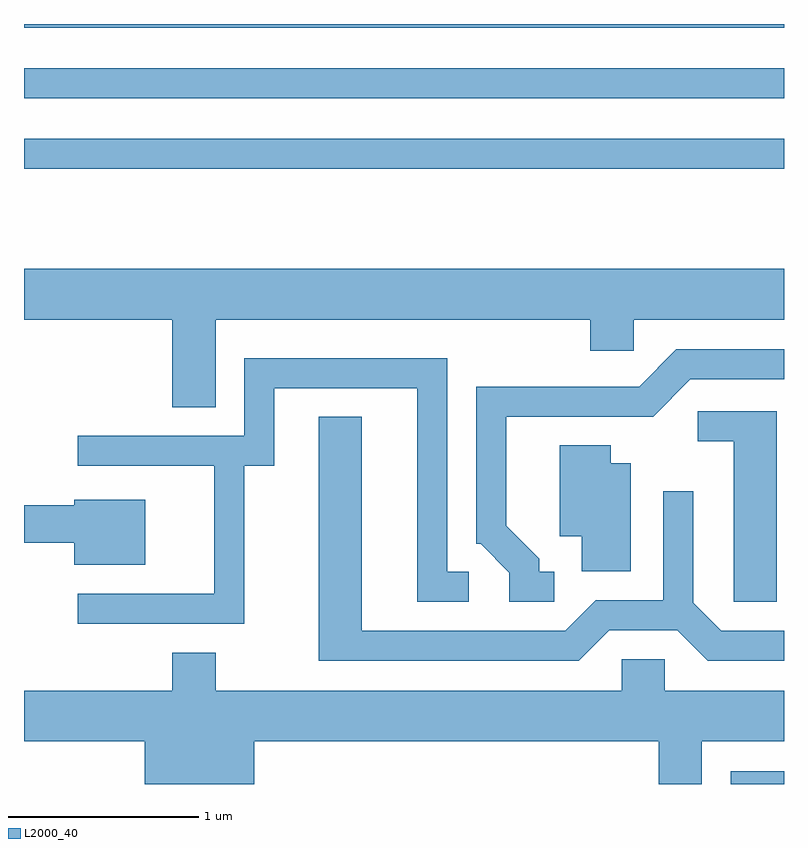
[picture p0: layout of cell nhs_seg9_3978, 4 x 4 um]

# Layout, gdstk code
import gdstk
lib = gdstk.Library(unit=1e-6, precision=1e-09)
def R(c, l, rs):  # rectangles x0, y0, x1, y1
    for r in rs: c.add(gdstk.rectangle(r[:2], r[2:], *l))
def P(c, l, *ps):  # polygons
    for p in ps: c.add(gdstk.Polygon(p, *l))
L2000_40 = (2000, 40)

nhs_seg9_3978 = lib.new_cell('nhs_seg9_3978')
R(nhs_seg9_3978, L2000_40, [(305.331,2040.432,305.611,2040.499), (301.611,2043.671,305.611,2043.829), (301.611,2044.041,305.611,2044.199), (301.611,2044.411,305.611,2044.432)])
P(nhs_seg9_3978, L2000_40, [(302.619,2042.876),(304.591,2042.876),(304.591,2042.711),(304.819,2042.711),(304.819,2042.876),(305.611,2042.876),(305.611,2043.144),(301.611,2043.144),(301.611,2042.876),(302.391,2042.876),(302.391,2042.416),(302.619,2042.416)],
  [(304.403,2041.549),(304.324,2041.549),(304.324,2041.617),(304.149,2041.792),(304.149,2042.366),(304.922,2042.366),(305.117,2042.561),(305.611,2042.561),(305.611,2042.719),(305.044,2042.719),(304.849,2042.524),(303.991,2042.524),(303.991,2041.696),(304.014,2041.696),(304.166,2041.544),(304.166,2041.391),(304.403,2041.391)],
  [(302.769,2042.106),(302.929,2042.106),(302.929,2042.516),(303.681,2042.516),(303.681,2041.391),(303.953,2041.391),(303.953,2041.549),(303.839,2041.549),(303.839,2042.674),(302.771,2042.674),(302.771,2042.264),(301.893,2042.264),(301.893,2042.106),(302.611,2042.106),(302.611,2041.434),(301.893,2041.434),(301.893,2041.276),(302.769,2041.276)],
  [(305.574,2042.394),(305.158,2042.394),(305.158,2042.236),(305.346,2042.236),(305.346,2041.391),(305.574,2041.391)],
  [(304.692,2041.241),(305.049,2041.241),(305.209,2041.081),(305.611,2041.081),(305.611,2041.239),(305.282,2041.239),(305.134,2041.387),(305.134,2041.973),(304.976,2041.973),(304.976,2041.399),(304.619,2041.399),(304.459,2041.239),(303.389,2041.239),(303.389,2042.364),(303.161,2042.364),(303.161,2041.081),(304.532,2041.081)],
  [(304.804,2042.119),(304.699,2042.119),(304.699,2042.214),(304.431,2042.214),(304.431,2041.736),(304.546,2041.736),(304.546,2041.551),(304.804,2041.551)],
  [(302.249,2041.929),(301.876,2041.929),(301.876,2041.899),(301.611,2041.899),(301.611,2041.701),(301.876,2041.701),(301.876,2041.586),(302.249,2041.586)],
  [(302.824,2040.656),(304.951,2040.656),(304.951,2040.432),(305.179,2040.432),(305.179,2040.656),(305.611,2040.656),(305.611,2040.924),(304.984,2040.924),(304.984,2041.089),(304.756,2041.089),(304.756,2040.924),(302.619,2040.924),(302.619,2041.124),(302.391,2041.124),(302.391,2040.924),(301.611,2040.924),(301.611,2040.656),(302.246,2040.656),(302.246,2040.432),(302.824,2040.432)])

lib.write_gds('nhs_seg9_3978.gds')
